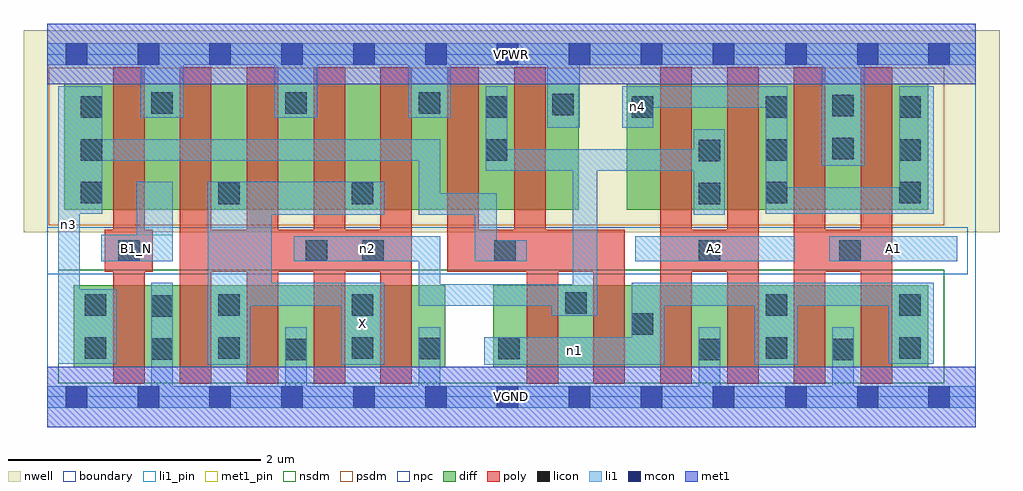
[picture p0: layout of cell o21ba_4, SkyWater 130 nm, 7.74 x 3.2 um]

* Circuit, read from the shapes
.subckt o21ba_4 A1 A2 B1_N VGND VPWR X n1 n2 n3 n4
XM1 VGND B1_N n3 VSUBS sky130_fd_pr__nfet_01v8 w=0.65 l=0.25
XM2 X n2 VGND VSUBS sky130_fd_pr__nfet_01v8 w=0.65 l=0.25 m=4
XM3 n2 n3 n1 VSUBS sky130_fd_pr__nfet_01v8 w=0.65 l=0.25 m=2
XM4 VGND A2 n1 VSUBS sky130_fd_pr__nfet_01v8 w=0.65 l=0.25 m=2
XM5 VGND A1 n1 VSUBS sky130_fd_pr__nfet_01v8 w=0.65 l=0.25 m=2
XM6 VPWR B1_N n3 n5 sky130_fd_pr__pfet_01v8 w=1 l=0.25
XM7 X n2 VPWR n5 sky130_fd_pr__pfet_01v8 w=1 l=0.25 m=4
XM8 n2 n3 VPWR n5 sky130_fd_pr__pfet_01v8 w=1 l=0.25 m=2
XM9 n2 A2 n4 n5 sky130_fd_pr__pfet_01v8 w=1 l=0.25 m=2
XM10 VPWR A1 n4 n5 sky130_fd_pr__pfet_01v8 w=1 l=0.25 m=2
.ends

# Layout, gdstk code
import gdstk
lib = gdstk.Library(unit=1e-6, precision=1e-09)
def R(c, l, rs):  # rectangles x0, y0, x1, y1
    for r in rs: c.add(gdstk.rectangle(r[:2], r[2:], *l))
def A(c, l, x, y, w, h, nx, ny, dx, dy):  # array of equal rectangles
    R(c, l, [(x+i*dx, y+j*dy, x+i*dx+w, y+j*dy+h) for i in range(nx) for j in range(ny)])
nwell = (64, 20)
diff = (65, 20)
poly = (66, 20)
licon = (66, 44)
li1_pin = (67, 16)
li1 = (67, 20)
mcon = (67, 44)
met1_pin = (68, 16)
met1 = (68, 20)
nsdm = (93, 44)
psdm = (94, 20)
npc = (95, 20)
boundary = (235, 4)

o21ba_4 = lib.new_cell('o21ba_4')
R(o21ba_4, nwell, [(-0.19,1.305,7.55,2.91), (0,1.305,7.36,2.91)])
R(o21ba_4, diff, [(0.21,0.235,3.155,0.885), (3.535,0.235,6.985,0.885), (0.135,1.485,4.215,2.485), (4.595,1.485,6.985,2.485)])
A(o21ba_4, poly, 0.52, 0.105, 0.25, 2.51, 5, 1, 0.53, 0)
A(o21ba_4, poly, 4.86, 0.105, 0.25, 2.51, 4, 1, 0.53, 0)
R(o21ba_4, poly, [(3.8,0.105,4.05,1.325), (4.33,0.105,4.58,1.325), (0.455,0.995,0.835,1.325), (1.05,0.995,2.89,1.325), (3.17,0.995,4.58,1.325), (3.17,0.995,3.42,2.615), (3.7,0.995,3.95,2.615), (4.86,0.995,5.64,1.325), (5.92,0.995,6.7,1.325)])
A(o21ba_4, licon, 0.295, 0.305, 0.17, 0.17, 3, 2, 1.06, 0.34)
A(o21ba_4, licon, 0.265, 1.535, 0.17, 0.17, 1, 3, 0, 0.34)
A(o21ba_4, licon, 4.635, 2.215, 0.17, 0.17, 3, 1, 1.06, 0)
A(o21ba_4, licon, 0.825, 2.245, 0.17, 0.17, 3, 1, 1.06, 0)
R(o21ba_4, licon, [(1.885,0.29,2.055,0.46), (5.165,0.29,5.335,0.46), (6.225,0.29,6.395,0.46), (0.825,0.295,0.995,0.465), (2.945,0.3,3.115,0.47), (3.575,0.3,3.745,0.47), (5.695,0.305,5.865,0.475), (6.755,0.305,6.925,0.475), (4.635,0.495,4.805,0.665), (0.825,0.635,0.995,0.805), (5.695,0.645,5.865,0.815), (6.755,0.645,6.925,0.815), (4.105,0.66,4.275,0.83), (0.56,1.075,0.73,1.245), (2.05,1.075,2.22,1.245), (2.495,1.075,2.665,1.245), (3.545,1.075,3.715,1.245), (5.165,1.075,5.335,1.245), (6.28,1.075,6.45,1.245), (1.355,1.53,1.525,1.7), (2.415,1.53,2.585,1.7), (5.165,1.53,5.335,1.7), (5.695,1.535,5.865,1.705), (6.755,1.535,6.925,1.705), (5.165,1.87,5.335,2.04), (3.475,1.875,3.645,2.045), (5.695,1.875,5.865,2.045), (6.755,1.875,6.925,2.045), (6.225,1.885,6.395,2.055), (3.475,2.215,3.645,2.385), (6.225,2.225,6.395,2.395), (4.005,2.235,4.175,2.405)])
R(o21ba_4, li1_pin, [(2.33,0.255,2.67,0.905), (0.425,1.075,0.995,1.285), (4.66,1.075,5.925,1.275), (6.2,1.075,7.215,1.275)])
A(o21ba_4, li1, 0.74, 2.215, 0.34, 0.59, 3, 1, 1.06, 0)
R(o21ba_4, li1, [(0,-0.085,7.36,0.085), (0.825,-0.085,0.995,0.905), (1.885,-0.085,2.055,0.555), (2.945,-0.085,3.115,0.555), (5.165,-0.085,5.335,0.555), (6.225,-0.085,6.395,0.555), (1.27,0.255,1.61,1.705), (2.33,0.255,2.67,0.905), (3.465,0.255,4.89,0.475), (4.635,0.255,4.89,0.905), (5.61,0.255,5.95,0.905), (0.085,0.265,0.255,2.465), (0.085,0.265,0.55,0.855), (6.67,0.265,7.03,0.905), (4,0.645,4.36,0.895), (4.165,0.645,4.36,1.965), (1.27,0.725,2.67,0.905), (1.27,0.725,1.78,1.705), (2.945,0.725,4.36,0.895), (2.945,0.725,3.115,1.275), (4.635,0.725,7.03,0.905), (0.425,1.075,0.995,1.285), (0.71,1.075,0.995,1.705), (1.955,1.075,3.115,1.275), (3.39,1.075,3.565,1.615), (3.39,1.075,3.8,1.245), (4.66,1.075,5.925,1.275), (6.2,1.075,7.215,1.275), (1.27,1.445,2.67,1.705), (2.945,1.445,3.115,2.045), (2.945,1.445,3.565,1.615), (5.125,1.445,5.37,2.125), (0.085,1.455,0.435,2.465), (5.695,1.455,7.03,1.665), (5.695,1.455,5.865,2.465), (6.755,1.455,7.03,2.465), (3.475,1.795,5.37,1.965), (3.475,1.795,3.645,2.465), (6.14,1.835,6.48,2.805), (0.085,1.875,3.115,2.045), (3.965,2.135,4.22,2.805), (4.56,2.135,4.805,2.465), (4.56,2.295,5.865,2.465), (0,2.635,7.36,2.805)])
A(o21ba_4, mcon, 0.145, -0.085, 0.17, 0.17, 10, 2, 0.57, 2.72)
R(o21ba_4, mcon, [(5.85,-0.085,6.02,0.085), (6.42,-0.085,6.59,0.085), (6.985,-0.085,7.155,0.085), (5.85,2.635,6.02,2.805), (6.42,2.635,6.59,2.805), (6.985,2.635,7.155,2.805)])
R(o21ba_4, met1_pin, [(0,-0.24,7.36,0.24), (0,2.48,7.36,2.96)])
R(o21ba_4, met1, [(0,-0.24,7.36,0.24), (0,2.48,7.36,2.96)])
R(o21ba_4, nsdm, [(0.085,0.11,7.11,1.01)])
R(o21ba_4, psdm, [(0.01,1.36,7.11,2.61)])
R(o21ba_4, npc, [(0,0.975,7.3,1.345)])
R(o21ba_4, boundary, [(0,0,7.36,2.72)])
o21ba_4.add(gdstk.Label('A1', (6.707,1.175), layer=67, texttype=5))
o21ba_4.add(gdstk.Label('A2', (5.292,1.175), layer=67, texttype=5))
o21ba_4.add(gdstk.Label('B1_N', (0.71,1.18), layer=67, texttype=5))
o21ba_4.add(gdstk.Label('X', (2.5,0.58), layer=67, texttype=5))
o21ba_4.add(gdstk.Label('n1', (4.177,0.365), layer=67, texttype=5))
o21ba_4.add(gdstk.Label('n3', (0.17,1.365), layer=67, texttype=5))
o21ba_4.add(gdstk.Label('n2', (2.535,1.175), layer=67, texttype=5))
o21ba_4.add(gdstk.Label('n4', (4.682,2.3), layer=67, texttype=5))
o21ba_4.add(gdstk.Label('VPWR', (3.68,2.72), layer=68, texttype=5))
o21ba_4.add(gdstk.Label('VGND', (3.68,0), layer=68, texttype=5))
o21ba_4.add(gdstk.Label('A1', (6.707,1.175), layer=67, texttype=16))
o21ba_4.add(gdstk.Label('A2', (5.292,1.175), layer=67, texttype=16))
o21ba_4.add(gdstk.Label('B1_N', (0.71,1.18), layer=67, texttype=16))
o21ba_4.add(gdstk.Label('X', (2.5,0.58), layer=67, texttype=16))
o21ba_4.add(gdstk.Label('VPWR', (3.68,2.72), layer=68, texttype=16))
o21ba_4.add(gdstk.Label('VGND', (3.68,0), layer=68, texttype=16))

lib.write_gds('o21ba_4.gds')
